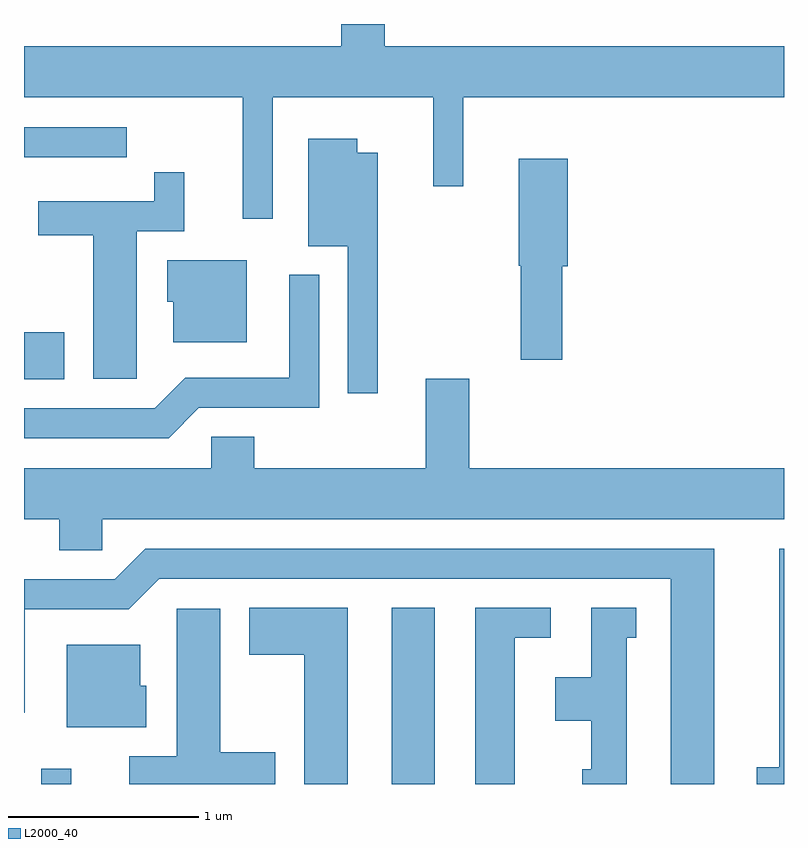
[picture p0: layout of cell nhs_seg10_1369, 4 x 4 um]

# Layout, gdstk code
import gdstk
lib = gdstk.Library(unit=1e-6, precision=1e-09)
def R(c, l, rs):  # rectangles x0, y0, x1, y1
    for r in rs: c.add(gdstk.rectangle(r[:2], r[2:], *l))
def P(c, l, *ps):  # polygons
    for p in ps: c.add(gdstk.Polygon(p, *l))
L2000_40 = (2000, 40)

nhs_seg10_1369 = lib.new_cell('nhs_seg10_1369')
R(nhs_seg10_1369, L2000_40, [(225.701,2112.522,225.859,2112.603), (227.546,2112.522,227.774,2113.449), (225.611,2114.651,225.824,2114.899), (225.611,2115.821,226.153,2115.979)])
P(nhs_seg10_1369, L2000_40, [(226.919,2116.136),(227.766,2116.136),(227.766,2115.668),(227.924,2115.668),(227.924,2116.136),(229.611,2116.136),(229.611,2116.404),(227.509,2116.404),(227.509,2116.522),(227.281,2116.522),(227.281,2116.404),(225.611,2116.404),(225.611,2116.136),(226.761,2116.136),(226.761,2115.498),(226.919,2115.498)],
  [(227.474,2115.844),(227.364,2115.844),(227.364,2115.919),(227.106,2115.919),(227.106,2115.351),(227.316,2115.351),(227.316,2114.578),(227.474,2114.578)],
  [(228.444,2115.246),(228.474,2115.246),(228.474,2115.814),(228.216,2115.814),(228.216,2115.25),(228.226,2115.25),(228.226,2114.756),(228.444,2114.756)],
  [(226.204,2115.431),(226.454,2115.431),(226.454,2115.743),(226.296,2115.743),(226.296,2115.589),(225.686,2115.589),(225.686,2115.411),(225.976,2115.411),(225.976,2114.656),(226.204,2114.656)],
  [(226.784,2115.279),(226.366,2115.279),(226.366,2115.061),(226.396,2115.061),(226.396,2114.846),(226.784,2114.846)],
  [(226.532,2114.501),(227.164,2114.501),(227.164,2115.203),(227.006,2115.203),(227.006,2114.659),(226.459,2114.659),(226.299,2114.499),(225.611,2114.499),(225.611,2114.341),(226.372,2114.341)],
  [(226.024,2113.916),(229.611,2113.916),(229.611,2114.184),(227.954,2114.184),(227.954,2114.654),(227.726,2114.654),(227.726,2114.184),(226.824,2114.184),(226.824,2114.349),(226.596,2114.349),(226.596,2114.184),(225.611,2114.184),(225.611,2113.916),(225.796,2113.916),(225.796,2113.751),(226.024,2113.751)],
  [(229.611,2113.759),(229.586,2113.759),(229.586,2112.609),(229.468,2112.609),(229.468,2112.522),(229.611,2112.522)],
  [(229.244,2113.759),(226.249,2113.759),(226.089,2113.599),(225.611,2113.599),(225.611,2112.898),(225.614,2112.898),(225.614,2113.441),(226.162,2113.441),(226.322,2113.601),(229.016,2113.601),(229.016,2112.522),(229.244,2112.522)],
  [(227.314,2113.449),(226.796,2113.449),(226.796,2113.201),(227.086,2113.201),(227.086,2112.522),(227.314,2112.522)],
  [(228.784,2113.291),(228.833,2113.291),(228.833,2113.449),(228.596,2113.449),(228.596,2113.084),(228.406,2113.084),(228.406,2112.856),(228.596,2112.856),(228.596,2112.599),(228.548,2112.599),(228.548,2112.522),(228.784,2112.522)],
  [(228.194,2113.291),(228.383,2113.291),(228.383,2113.449),(227.986,2113.449),(227.986,2112.522),(228.194,2112.522)],
  [(226.934,2112.689),(226.644,2112.689),(226.644,2113.444),(226.416,2113.444),(226.416,2112.669),(226.166,2112.669),(226.166,2112.522),(226.934,2112.522)],
  [(226.254,2113.039),(226.224,2113.039),(226.224,2113.254),(225.836,2113.254),(225.836,2112.821),(226.254,2112.821)])

lib.write_gds('nhs_seg10_1369.gds')
